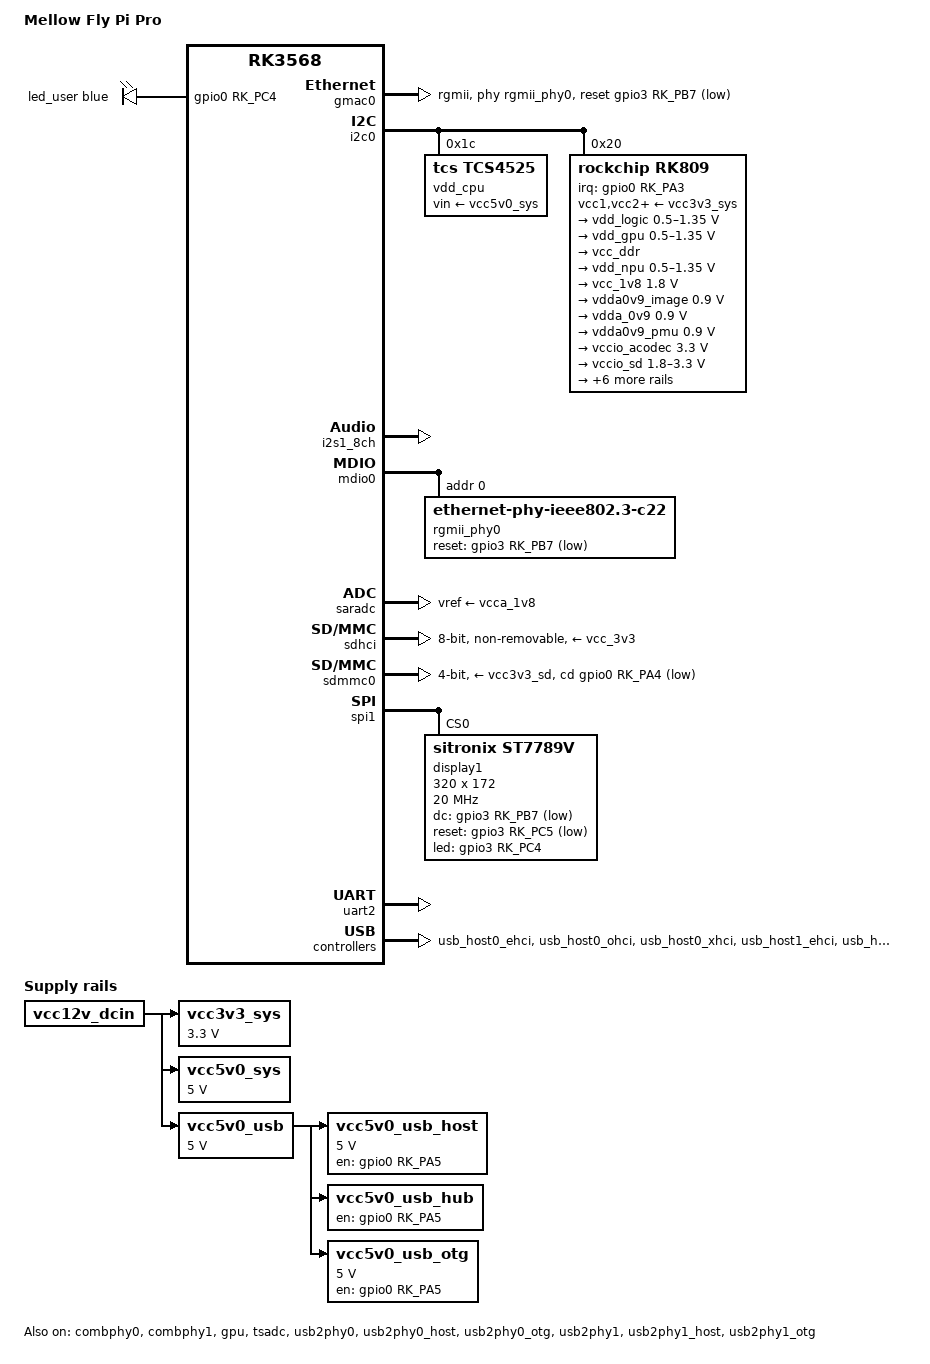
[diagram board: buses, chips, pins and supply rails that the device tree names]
// SPDX-License-Identifier: (GPL-2.0+ OR MIT)

/dts-v1/;
#include <dt-bindings/gpio/gpio.h>
#include <dt-bindings/pwm/pwm.h>
#include <dt-bindings/leds/common.h>
#include <dt-bindings/pinctrl/rockchip.h>
#include <dt-bindings/display/drm_mipi_dsi.h>
#include <dt-bindings/sensor-dev.h>

#include "rk3568.dtsi"

/ {
	model = "Mellow Fly Pi Pro";
	compatible = "mellow,fly-pi-pro", "rockchip,rk3568";

	aliases {
		ethernet0 = &gmac0;
		mmc0 = &sdmmc0;
		mmc1 = &sdhci;
	};

	chosen: chosen {
		stdout-path = "serial2:1500000n8";
	};

	leds {
		compatible = "gpio-leds";

		led_user: led-0 {
			gpios = <&gpio0 RK_PC4 GPIO_ACTIVE_HIGH>;
			function = LED_FUNCTION_HEARTBEAT;
			color = <LED_COLOR_ID_BLUE>;
			linux,default-trigger = "heartbeat";
			pinctrl-names = "default";
			pinctrl-0 = <&led_user_en>;
		};
	};

	rk809-sound {
		compatible = "simple-audio-card";
		simple-audio-card,format = "i2s";
		simple-audio-card,name = "Analog RK809";
		simple-audio-card,mclk-fs = <256>;

		simple-audio-card,cpu {
			sound-dai = <&i2s1_8ch>;
		};

		simple-audio-card,codec {
			sound-dai = <&rk809>;
		};
	};

	vcc12v_dcin: vcc12v-dcin {
		compatible = "regulator-fixed";
		regulator-name = "vcc12v_dcin";
		regulator-always-on;
		regulator-boot-on;
	};

	vcc3v3_sys: vcc3v3-sys {
		compatible = "regulator-fixed";
		regulator-name = "vcc3v3_sys";
		regulator-always-on;
		regulator-boot-on;
		regulator-min-microvolt = <3300000>;
		regulator-max-microvolt = <3300000>;
		vin-supply = <&vcc12v_dcin>;
	};

	vcc5v0_sys: vcc5v0-sys {
		compatible = "regulator-fixed";
		regulator-name = "vcc5v0_sys";
		regulator-always-on;
		regulator-boot-on;
		regulator-min-microvolt = <5000000>;
		regulator-max-microvolt = <5000000>;
		vin-supply = <&vcc12v_dcin>;
	};

	vcc5v0_usb: vcc5v0-usb {
		compatible = "regulator-fixed";
		regulator-name = "vcc5v0_usb";
		regulator-always-on;
		regulator-boot-on;
		regulator-min-microvolt = <5000000>;
		regulator-max-microvolt = <5000000>;
		vin-supply = <&vcc12v_dcin>;
	};

	vcc5v0_usb_host: vcc5v0-usb-host {
		compatible = "regulator-fixed";
		enable-active-high;
		gpio = <&gpio0 RK_PA5 GPIO_ACTIVE_HIGH>;
		pinctrl-names = "default";
		pinctrl-0 = <&vcc5v0_usb_host_en>;
		regulator-name = "vcc5v0_usb_host";
		regulator-min-microvolt = <5000000>;
		regulator-max-microvolt = <5000000>;
		vin-supply = <&vcc5v0_usb>;
	};

	vcc5v0_usb_hub: vcc5v0-usb-hub-regulator {
		compatible = "regulator-fixed";
		enable-active-high;
		gpio = <&gpio0 RK_PA5 GPIO_ACTIVE_HIGH>;
		pinctrl-names = "default";
		pinctrl-0 = <&vcc5v0_usb_hub_en>;
		regulator-name = "vcc5v0_usb_hub";
		regulator-always-on;
		vin-supply = <&vcc5v0_usb>;
	};

	vcc5v0_usb_otg: vcc5v0-usb-otg-regulator {
		compatible = "regulator-fixed";
		enable-active-high;
		gpio = <&gpio0 RK_PA5 GPIO_ACTIVE_HIGH>;
		pinctrl-names = "default";
		pinctrl-0 = <&vcc5v0_usb_otg_en>;
		regulator-name = "vcc5v0_usb_otg";
		regulator-min-microvolt = <5000000>;
		regulator-max-microvolt = <5000000>;
		vin-supply = <&vcc5v0_usb>;
	};
	
	vcc_mipi: vcc-mipi {
		status = "disabled";
		compatible = "regulator-fixed";
		regulator-name = "vcc_mipi";
		regulator-boot-on;
		regulator-min-microvolt = <3300000>;
		regulator-max-microvolt = <3300000>;
		enable-active-high;
		regulator-always-on;
		gpio = <&gpio3 RK_PC0 GPIO_ACTIVE_HIGH>;
		vin-supply = <&vcc3v3_sys>;

		regulator-state-mem {
			regulator-off-in-suspend;
		};
	};

};

&combphy0 {
	status = "okay";
};

&combphy1 {
	status = "okay";
};

&cpu0 {
	cpu-supply = <&vdd_cpu>;
};

&cpu1 {
	cpu-supply = <&vdd_cpu>;
};

&cpu2 {
	cpu-supply = <&vdd_cpu>;
};

&cpu3 {
	cpu-supply = <&vdd_cpu>;
};

////////////////////////////////////////////////////////
&video_phy0 {
    status = "disabled";
};

&dsi0 {
	status = "disabled";
	power-supply = <&vcc_mipi>;

	dsi0_panel: dsi-panel@0 {
		compatible = "rockpi,tc358762";
		reg = <0x0>;
		status = "disabled";

		ports {			
			#address-cells = <1>;
			#size-cells = <0>;

			port@0 {
				reg = <0>;

				panel_in_dsi0: endpoint {
					remote-endpoint = <&dsi0_out_panel>;
				};
			};
		};
	};

	ports {
		#address-cells = <1>;
		#size-cells = <0>;

		port@1 {
			reg = <1>;
			#address-cells = <1>;
			#size-cells = <0>;

			dsi0_out_panel: endpoint@0 {
				reg = <0>;
				remote-endpoint = <&panel_in_dsi0>;
			};
		};
	};
};

&dsi0_in_vp0 {
	status = "disabled";
};

&dsi0_in_vp1 {
	status = "disabled";
};

&route_dsi0 {
	status = "disabled";
	connect = <&vp1_out_dsi0>;
};

&i2c3 {
	status = "disabled";
	pinctrl-0 = <&i2c3m1_xfer>;

	rockpi_mcu: rockpi-mcu@45 {
		compatible = "rockpi_mcu";
		reg = <0x45>;
		status = "disabled";
	};

	rockpi_ft5406: rockpi_ft5406@38 {
		compatible = "rockpi_ft5406";
		reg = <0x38>;
		status = "disabled";
	};
};
//////////////////////////////////////////////////////////

&gmac0 {
	phy-mode = "rgmii";
	clock_in_out = "output";

	snps,reset-gpio = <&gpio3 RK_PB7 GPIO_ACTIVE_LOW>;
	snps,reset-active-low;
	/* Reset time is 20ms, 100ms for rtl8211f */
	snps,reset-delays-us = <0 20000 100000>;

	assigned-clocks = <&cru SCLK_GMAC0_RX_TX>, <&cru SCLK_GMAC0>;
	assigned-clock-parents = <&cru SCLK_GMAC0_RGMII_SPEED>;
	assigned-clock-rates = <0>, <125000000>;

	pinctrl-names = "default";
	pinctrl-0 = <&gmac0_miim
		     &gmac0_tx_bus2
		     &gmac0_rx_bus2
		     &gmac0_rgmii_clk
		     &gmac0_rgmii_bus>;

	//tx_delay = <0x42>;
	//rx_delay = <0x28>;

	phy-handle = <&rgmii_phy0>;
	status = "okay";
};


&gpu {
	mali-supply = <&vdd_gpu>;
	status = "okay";
};

&i2c0 {
	status = "okay";

	vdd_cpu: regulator@1c {
		compatible = "tcs,tcs4525";
		reg = <0x1c>;
		fcs,suspend-voltage-selector = <1>;
		regulator-name = "vdd_cpu";
		regulator-always-on;
		regulator-boot-on;
		regulator-min-microvolt = <800000>;
		regulator-max-microvolt = <1150000>;
		regulator-ramp-delay = <2300>;
		vin-supply = <&vcc5v0_sys>;

		regulator-state-mem {
			regulator-off-in-suspend;
		};
	};

	rk809: pmic@20 {
		compatible = "rockchip,rk809";
		reg = <0x20>;
		interrupt-parent = <&gpio0>;
		interrupts = <RK_PA3 IRQ_TYPE_LEVEL_LOW>;
		assigned-clocks = <&cru I2S1_MCLKOUT_TX>;
		assigned-clock-parents = <&cru CLK_I2S1_8CH_TX>;
		#clock-cells = <1>;
		clock-names = "mclk";
		clocks = <&cru I2S1_MCLKOUT_TX>;
		pinctrl-names = "default";
		pinctrl-0 = <&pmic_int>, <&i2s1m0_mclk>;
		rockchip,system-power-controller;
		#sound-dai-cells = <0>;
		vcc1-supply = <&vcc3v3_sys>;
		vcc2-supply = <&vcc3v3_sys>;
		vcc3-supply = <&vcc3v3_sys>;
		vcc4-supply = <&vcc3v3_sys>;
		vcc5-supply = <&vcc3v3_sys>;
		vcc6-supply = <&vcc3v3_sys>;
		vcc7-supply = <&vcc3v3_sys>;
		vcc8-supply = <&vcc3v3_sys>;
		vcc9-supply = <&vcc3v3_sys>;
		wakeup-source;

		regulators {
			vdd_logic: DCDC_REG1 {
				regulator-name = "vdd_logic";
				regulator-always-on;
				regulator-boot-on;
				regulator-init-microvolt = <900000>;
				regulator-initial-mode = <0x2>;
				regulator-min-microvolt = <500000>;
				regulator-max-microvolt = <1350000>;
				regulator-ramp-delay = <6001>;

				regulator-state-mem {
					regulator-off-in-suspend;
				};
			};

			vdd_gpu: DCDC_REG2 {
				regulator-name = "vdd_gpu";
				regulator-always-on;
				regulator-init-microvolt = <900000>;
				regulator-initial-mode = <0x2>;
				regulator-min-microvolt = <500000>;
				regulator-max-microvolt = <1350000>;
				regulator-ramp-delay = <6001>;

				regulator-state-mem {
					regulator-off-in-suspend;
				};
			};

			vcc_ddr: DCDC_REG3 {
				regulator-name = "vcc_ddr";
				regulator-always-on;
				regulator-boot-on;
				regulator-initial-mode = <0x2>;

				regulator-state-mem {
					regulator-on-in-suspend;
				};
			};

			vdd_npu: DCDC_REG4 {
				regulator-name = "vdd_npu";
				regulator-init-microvolt = <900000>;
				regulator-initial-mode = <0x2>;
				regulator-min-microvolt = <500000>;
				regulator-max-microvolt = <1350000>;
				regulator-ramp-delay = <6001>;

				regulator-state-mem {
					regulator-off-in-suspend;
				};
			};

			vcc_1v8: DCDC_REG5 {
				regulator-name = "vcc_1v8";
				regulator-always-on;
				regulator-boot-on;
				regulator-min-microvolt = <1800000>;
				regulator-max-microvolt = <1800000>;

				regulator-state-mem {
					regulator-off-in-suspend;
				};
			};

			vdda0v9_image: LDO_REG1 {
				regulator-name = "vdda0v9_image";
				regulator-min-microvolt = <900000>;
				regulator-max-microvolt = <900000>;

				regulator-state-mem {
					regulator-off-in-suspend;
				};
			};

			vdda_0v9: LDO_REG2 {
				regulator-name = "vdda_0v9";
				regulator-always-on;
				regulator-boot-on;
				regulator-min-microvolt = <900000>;
				regulator-max-microvolt = <900000>;

				regulator-state-mem {
					regulator-off-in-suspend;
				};
			};

			vdda0v9_pmu: LDO_REG3 {
				regulator-name = "vdda0v9_pmu";
				regulator-always-on;
				regulator-boot-on;
				regulator-min-microvolt = <900000>;
				regulator-max-microvolt = <900000>;

				regulator-state-mem {
					regulator-on-in-suspend;
					regulator-suspend-microvolt = <900000>;
				};
			};

			vccio_acodec: LDO_REG4 {
				regulator-name = "vccio_acodec";
				regulator-always-on;
				regulator-min-microvolt = <3300000>;
				regulator-max-microvolt = <3300000>;

				regulator-state-mem {
					regulator-off-in-suspend;
				};
			};

			vccio_sd: LDO_REG5 {
				regulator-name = "vccio_sd";
				regulator-min-microvolt = <1800000>;
				regulator-max-microvolt = <3300000>;

				regulator-state-mem {
					regulator-off-in-suspend;
				};
			};

			vcc3v3_pmu: LDO_REG6 {
				regulator-name = "vcc3v3_pmu";
				regulator-always-on;
				regulator-boot-on;
				regulator-min-microvolt = <3300000>;
				regulator-max-microvolt = <3300000>;

				regulator-state-mem {
					regulator-on-in-suspend;
					regulator-suspend-microvolt = <3300000>;
				};
			};

			vcca_1v8: LDO_REG7 {
				regulator-name = "vcca_1v8";
				regulator-always-on;
				regulator-boot-on;
				regulator-min-microvolt = <1800000>;
				regulator-max-microvolt = <1800000>;

				regulator-state-mem {
					regulator-off-in-suspend;
				};
			};

			vcca1v8_pmu: LDO_REG8 {
				regulator-name = "vcca1v8_pmu";
				regulator-always-on;
				regulator-boot-on;
				regulator-min-microvolt = <1800000>;
				regulator-max-microvolt = <1800000>;

				regulator-state-mem {
					regulator-on-in-suspend;
					regulator-suspend-microvolt = <1800000>;
				};
			};

			vcca1v8_image: LDO_REG9 {
				regulator-name = "vcca1v8_image";
				regulator-min-microvolt = <1800000>;
				regulator-max-microvolt = <1800000>;

				regulator-state-mem {
					regulator-off-in-suspend;
				};
			};

			vcc_3v3: SWITCH_REG1 {
				regulator-name = "vcc_3v3";
				regulator-always-on;
				regulator-boot-on;

				regulator-state-mem {
					regulator-off-in-suspend;
				};
			};

			vcc3v3_sd: SWITCH_REG2 {
				regulator-name = "vcc3v3_sd";

				regulator-state-mem {
					regulator-off-in-suspend;
				};
			};
		};

		codec {
			mic-in-differential;
		};
	};
};

&i2s1_8ch {
	rockchip,trcm-sync-tx-only;
	status = "okay";
};

&mdio0 {
	rgmii_phy0: phy@0 {
		compatible = "ethernet-phy-ieee802.3-c22";
		reg = <0x0>;
    pinctrl-names = "default";
		pinctrl-0 = <&eth_phy_rst>;
		reset-assert-us = <20000>;
		reset-deassert-us = <100000>;
		reset-gpios = <&gpio3 RK_PB7 GPIO_ACTIVE_LOW>;
	};
};

&pinctrl {
	ethernet {
		eth_phy_rst: eth_phy_rst {
			rockchip,pins = <3 RK_PB7 RK_FUNC_GPIO &pcfg_pull_none>;
		};
	};

	leds {
		led_user_en: led_user_en {
			rockchip,pins = <0 RK_PC4 RK_FUNC_GPIO &pcfg_pull_none>;
		};
	};

	pmic {
		pmic_int: pmic_int {
			rockchip,pins =
				<0 RK_PA3 RK_FUNC_GPIO &pcfg_pull_up>;
		};
	};

	usb {
		vcc5v0_usb_host_en: vcc5v0_usb_host_en {
			rockchip,pins = <0 RK_PA5 RK_FUNC_GPIO &pcfg_pull_none>;
		};
		vcc5v0_usb_hub_en: vcc5v0_usb_hub_en {
			rockchip,pins = <0 RK_PA5 RK_FUNC_GPIO &pcfg_pull_none>;
		};
		vcc5v0_usb_otg_en: vcc5v0_usb_otg_en {
			rockchip,pins = <0 RK_PA5 RK_FUNC_GPIO &pcfg_pull_none>;
		};
	};
};

&pmu_io_domains {
	pmuio1-supply = <&vcc3v3_pmu>;
	pmuio2-supply = <&vcc3v3_pmu>;
	vccio1-supply = <&vccio_acodec>;
	vccio2-supply = <&vcc_1v8>;
	vccio3-supply = <&vccio_sd>;
	vccio4-supply = <&vcc_1v8>;
	vccio5-supply = <&vcc_3v3>;
	vccio6-supply = <&vcc_1v8>;
	vccio7-supply = <&vcc_3v3>;
	status = "okay";
};

&saradc {
	vref-supply = <&vcca_1v8>;
	status = "okay";
};

&sdhci {
	bus-width = <8>;
	max-frequency = <200000000>;
	non-removable;
	pinctrl-names = "default";
	pinctrl-0 = <&emmc_bus8 &emmc_clk &emmc_cmd &emmc_datastrobe>;
	vmmc-supply = <&vcc_3v3>;
	vqmmc-supply = <&vcc_1v8>;
	status = "okay";
};
/*
&sdmmc0 {
	bus-width = <4>;
	cap-sd-highspeed;
	cd-gpios = <&gpio0 RK_PA4 GPIO_ACTIVE_LOW>;
	disable-wp;
	pinctrl-names = "default";
	pinctrl-0 = <&sdmmc0_bus4 &sdmmc0_clk &sdmmc0_cmd &sdmmc0_det>;
	sd-uhs-sdr104;
	vmmc-supply = <&vcc3v3_sd>;
	vqmmc-supply = <&vccio_sd>;
	status = "okay";
};
*/

&sdmmc0 {
	max-frequency = <150000000>;
	supports-sd;
	bus-width = <4>;
	cap-mmc-highspeed;
	cap-sd-highspeed;
	disable-wp;
	cd-gpios = <&gpio0 RK_PA4 GPIO_ACTIVE_LOW>;
	sd-uhs-sdr104;
	vmmc-supply = <&vcc3v3_sd>;
	vqmmc-supply = <&vccio_sd>;
	pinctrl-names = "default";
	pinctrl-0 = <&sdmmc0_bus4 &sdmmc0_clk &sdmmc0_cmd &sdmmc0_det>;
	status = "okay";
};


&spi1 {
	/* ST7789V3 */
	#address-cells = <1>;
	#size-cells = <0>;
	pinctrl-names = "default";
//	pinctrl-0 = <&gpio3 RK_PC4 GPIO_ACTIVE_LOW &spi1m1_pins>;
	pinctrl-0 = <&spi1m1_pins>;
	status = "okay";
	max-freq = <50000000>;

    display1@st7789v {
        compatible = "sitronix,st7789v";
        reg = <0>;
 
        spi-max-frequency = <20000000>;
        rotate = <270>;
		height = <172>;
        width = <320>;
        bgr;
        fps = <10>;
        buswidth = <8>;
		init = <0x01000011
				0x02000078
				0x0100003A 0x05
				0x010000B2 0x0C 0x0C 0x00 0x33 0x33
				0x010000B7 0x35
				0x010000C2 0x01 0xFF
				0x010000C3 0x17
				0x010000C4 0x20
				0x010000BB 0x17
				0x010000C5 0x20
				0x010000D0 0xA4 0xA1
				0x01000029>;
		gamma = "D0 00 14 15 13 2C 42 43 4E 09 16 14 18 21\nD0 00 14 15 13 0B 43 55 53 0C 17 14 23 20";
        dc-gpios = <&gpio3 RK_PB7 GPIO_ACTIVE_LOW>;
        reset-gpios = <&gpio3 RK_PC5 GPIO_ACTIVE_LOW>;
        led-gpios = <&gpio3 RK_PC4 GPIO_ACTIVE_HIGH>;
        // reset-gpios = <&pio 1 7 GPIO_ACTIVE_LOW>;
        // dc-gpios = <&pio 1 5 GPIO_ACTIVE_LOW>;
        debug = <7>; //等级0～7 越高信息越多
    };
};

&tsadc {
	rockchip,hw-tshut-mode = <1>;
	rockchip,hw-tshut-polarity = <0>;
	status = "okay";
};

&uart2 {
	status = "okay";
};

&usb_host0_ehci {
	status = "okay";
};

&usb_host0_ohci {
	status = "okay";
};

&usb_host0_xhci {
	extcon = <&usb2phy0>;
	status = "okay";
};

&usb_host1_ehci {
	status = "okay";
};

&usb_host1_ohci {
	status = "okay";
};

&usb_host1_xhci {
	status = "okay";
};

&usbhost30 {
	status = "okay";
};

&usb2phy0 {
	status = "okay";
};

&usb2phy0_host {
	phy-supply = <&vcc5v0_usb_host>;
	status = "okay";
};

&usb2phy0_otg {
	phy-supply = <&vcc5v0_usb_otg>;
	status = "okay";
};

&usb2phy1 {
	status = "okay";
};

&usb2phy1_host {
	phy-supply = <&vcc5v0_usb_host>;
	status = "okay";
};

&usb2phy1_otg {
	phy-supply = <&vcc5v0_usb_host>;
	status = "okay";
};
